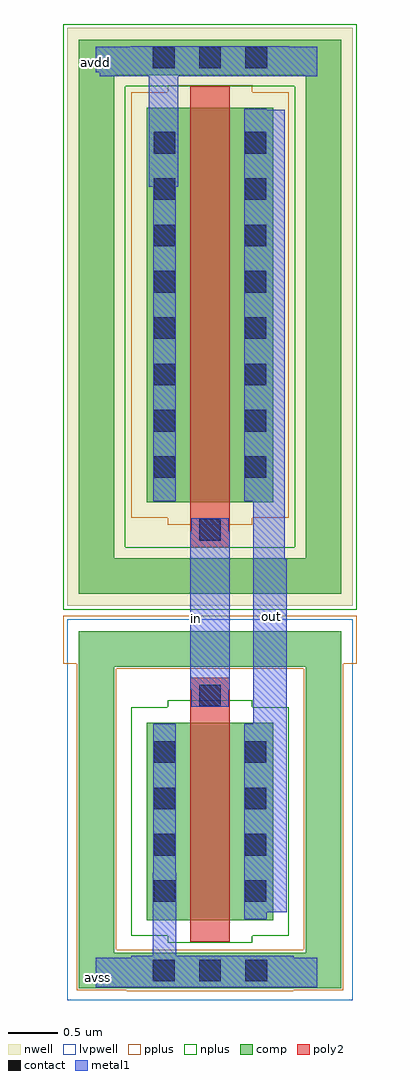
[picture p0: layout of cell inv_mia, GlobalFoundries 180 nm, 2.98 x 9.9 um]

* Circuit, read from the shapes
.subckt inv_mia avdd avss in out
XM1 out in avss avss nfet_03v3 w=2u l=0.4u
XM2 out in avdd avdd pfet_03v3 w=4u l=0.4u
.ends

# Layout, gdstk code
import gdstk
lib = gdstk.Library(unit=1e-6, precision=1e-09)
def R(c, l, rs):  # rectangles x0, y0, x1, y1
    for r in rs: c.add(gdstk.rectangle(r[:2], r[2:], *l))
def A(c, l, x, y, w, h, nx, ny, dx, dy):  # array of equal rectangles
    R(c, l, [(x+i*dx, y+j*dy, x+i*dx+w, y+j*dy+h) for i in range(nx) for j in range(ny)])
nwell = (21, 0)
comp = (22, 0)
poly2 = (30, 0)
pplus = (31, 0)
nplus = (32, 0)
contact = (33, 0)
metal1 = (34, 0)
lvpwell = (204, 0)

inv_mia = lib.new_cell('inv_mia')
R(inv_mia, nwell, [(25.75,-4.25,28.65,1.61)])
R(inv_mia, comp, [(25.87,-8.13,28.53,-7.77), (25.87,-7.77,26.23,-4.87), (28.17,-7.77,28.53,-4.87), (26.56,-7.44,27.84,-5.44), (25.87,-4.87,28.53,-4.51), (25.87,-4.13,28.53,-3.77), (25.87,-3.77,26.23,1.13), (28.17,-3.77,28.53,1.13), (26.56,-3.2,27.84,0.8), (25.87,1.13,28.53,1.49)])
R(inv_mia, poly2, [(27,-7.66,27.4,-4.98), (27,-3.66,27.4,1.02)])
R(inv_mia, pplus, [(26.355,-8.16,28.045,-8.15), (25.85,-8.15,28.55,-7.74), (25.85,-7.74,26.25,-4.89), (28.15,-7.74,28.55,-4.89), (25.85,-4.89,28.55,-4.84), (25.71,-4.84,28.69,-4.35), (26.77,-3.43,27.63,-3.36), (26.4,-3.36,28,0.96), (26.77,0.96,27.63,1.03)])
R(inv_mia, nplus, [(26.77,-7.67,27.63,-7.6), (26.4,-7.6,28,-5.28), (26.77,-5.28,27.63,-5.21), (25.71,-4.29,28.69,-3.66), (25.71,-3.66,26.34,1.02), (28.06,-3.66,28.69,1.02), (25.71,1.02,28.69,1.65)])
A(inv_mia, contact, 26.62, -8.06, 0.22, 0.22, 3, 2, 0.47, 9.26)
A(inv_mia, contact, 26.63, -7.255, 0.22, 0.22, 1, 4, 0, 0.47)
A(inv_mia, contact, 27.55, -7.255, 0.22, 0.22, 1, 4, 0, 0.47)
A(inv_mia, contact, 26.63, -2.955, 0.22, 0.22, 1, 8, 0, 0.47)
A(inv_mia, contact, 27.55, -2.955, 0.22, 0.22, 1, 8, 0, 0.47)
R(inv_mia, contact, [(27.09,-5.27,27.31,-5.05), (27.09,-3.59,27.31,-3.37)])
R(inv_mia, metal1, [(26.04,-8.12,28.29,-7.82), (26.4,-7.82,28.05,-7.8), (26.62,-7.8,26.86,-6.96), (27.545,-7.43,27.775,-7.36), (27.545,-7.36,27.98,-5.45), (26.625,-6.96,26.855,-5.45), (27.64,-5.45,27.98,-3.78), (27.01,-5.275,27.39,-5.1), (27,-5.1,27.4,-3.5), (27.64,-3.78,27.96,-3.19), (27.01,-3.5,27.39,-3.365), (26.625,-3.19,26.855,0), (27.545,-3.19,27.96,0.78), (26.58,0,26.88,1.12), (27.545,0.78,27.775,0.79), (26.08,1.12,28.29,1.16), (26.04,1.16,28.29,1.42), (26.395,1.42,28.005,1.425)])
R(inv_mia, lvpwell, [(25.75,-8.25,28.65,-4.39)])
inv_mia.add(gdstk.Label('avdd', (26.04,1.26), layer=34, texttype=10))
inv_mia.add(gdstk.Label('avss', (26.06,-8.02), layer=34, texttype=10))
inv_mia.add(gdstk.Label('in', (27.06,-4.38), layer=34, texttype=10))
inv_mia.add(gdstk.Label('out', (27.82,-4.36), layer=34, texttype=10))

lib.write_gds('inv_mia.gds')
